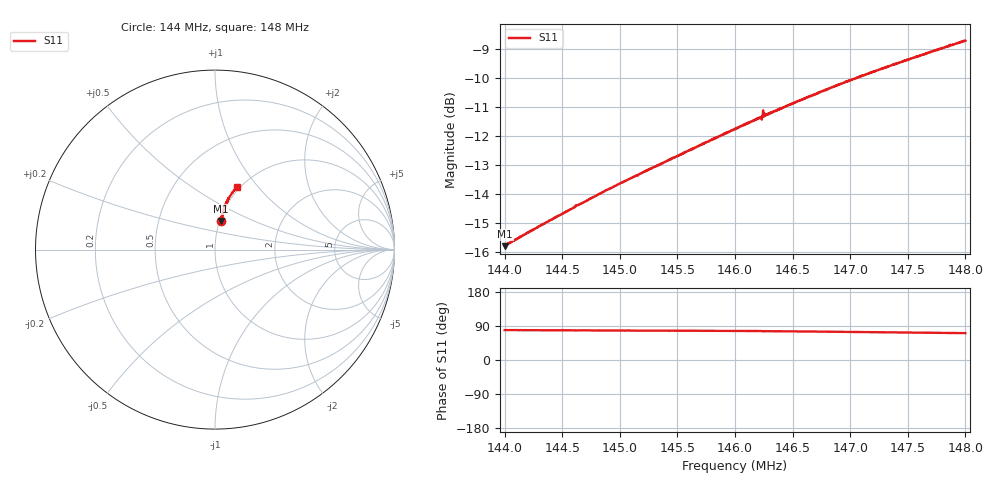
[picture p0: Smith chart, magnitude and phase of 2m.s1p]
! Calibrated averaged scanner-service zoom
# Hz S RI R 50
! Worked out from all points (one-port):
!   1001 points, 144 MHz to 148 MHz, reference 50 ohm
!   lowest |S11| = -15.8 dB at 144 MHz (marker M1), VSWR 1.39, Z = 50.5 + j16.5 ohm
!   |S11| at or under -10 dB: start of sweep to 147.05 MHz
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1.44e8  0.0312 0.1593
1.44004e8  0.0309 0.159
1.44068e8  0.0319 0.162
1.44312e8  0.035 0.1724
1.445e8  0.037 0.1805
1.44592e8  0.0381 0.1845
1.44636e8  0.0395 0.1867
1.4468e8  0.0396 0.1883
1.44864e8  0.042 0.197
1.45e8  0.0443 0.203
1.455e8  0.0506 0.2261
1.4576e8  0.0546 0.2393
1.46e8  0.0601 0.2506
1.46208e8  0.0644 0.2616
1.46212e8  0.0641 0.2624
1.4622e8  0.0645 0.2625
1.46224e8  0.0648 0.2626
1.46256e8  0.0689 0.266
1.4628e8  0.0657 0.2657
1.465e8  0.0715 0.2766
1.46696e8  0.077 0.2866
1.46752e8  0.0784 0.2897
1.47e8  0.0858 0.3018
1.4718e8  0.0914 0.3097
1.475e8  0.1024 0.3245
1.4788e8  0.1153 0.3416
1.4798e8  0.119 0.3461
1.48e8  0.1198 0.3468
